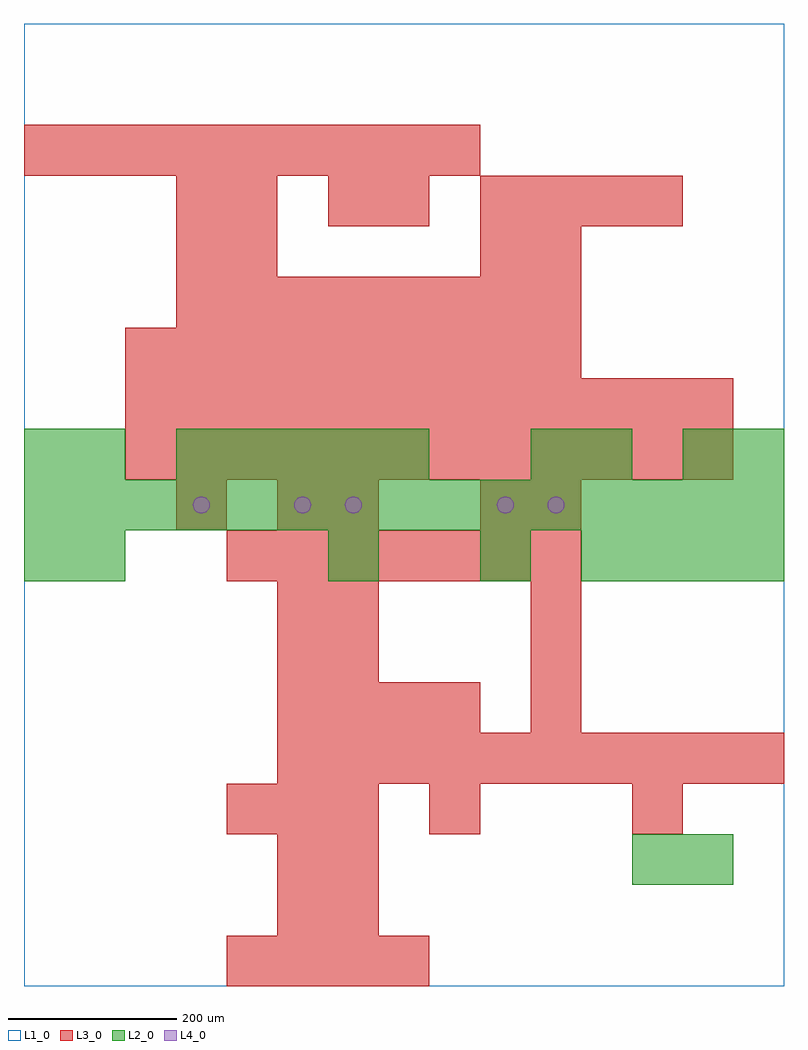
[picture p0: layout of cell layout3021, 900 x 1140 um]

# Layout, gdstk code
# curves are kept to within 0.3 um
import gdstk
lib = gdstk.Library(unit=1e-6, precision=1e-09)
def R(c, l, rs):  # rectangles x0, y0, x1, y1
    for r in rs: c.add(gdstk.rectangle(r[:2], r[2:], *l))
def A(c, l, x, y, w, h, nx, ny, dx, dy):  # array of equal rectangles
    R(c, l, [(x+i*dx, y+j*dy, x+i*dx+w, y+j*dy+h) for i in range(nx) for j in range(ny)])
def P(c, l, *ps):  # polygons
    for p in ps: c.add(gdstk.Polygon(p, *l))
L1_0 = (1, 0)
L2_0 = (2, 0)
L3_0 = (3, 0)
L4_0 = (4, 0)

layout3021 = lib.new_cell('layout3021')
R(layout3021, L1_0, [(0,0,900,1140)])
A(layout3021, L2_0, 660, 480, 60, 60, 4, 1, 60, 0)
A(layout3021, L2_0, 0, 540, 60, 60, 15, 1, 60, 0)
A(layout3021, L2_0, 180, 600, 60, 60, 5, 1, 60, 0)
R(layout3021, L2_0, [(720,120,780,180), (780,120,840,180), (0,480,60,540), (60,480,120,540), (360,480,420,540), (540,480,600,540), (0,600,60,660), (60,600,120,660), (600,600,660,660), (660,600,720,660), (780,600,840,660), (840,600,900,660)])
A(layout3021, L3_0, 240, 0, 60, 60, 4, 1, 60, 0)
A(layout3021, L3_0, 240, 180, 60, 60, 3, 1, 60, 0)
A(layout3021, L3_0, 300, 240, 60, 60, 10, 1, 60, 0)
A(layout3021, L3_0, 300, 300, 60, 60, 4, 1, 60, 0)
A(layout3021, L3_0, 600, 300, 60, 60, 1, 3, 0, 60)
A(layout3021, L3_0, 240, 480, 60, 60, 7, 1, 60, 0)
A(layout3021, L3_0, 120, 600, 60, 60, 12, 2, 60, 60)
A(layout3021, L3_0, 120, 720, 60, 60, 9, 1, 60, 0)
A(layout3021, L3_0, 180, 780, 60, 60, 8, 1, 60, 0)
A(layout3021, L3_0, 540, 900, 60, 60, 4, 1, 60, 0)
A(layout3021, L3_0, 0, 960, 60, 60, 9, 1, 60, 0)
R(layout3021, L3_0, [(300,60,360,120), (360,60,420,120), (300,120,360,180), (360,120,420,180), (480,180,540,240), (720,180,780,240), (300,360,360,420), (360,360,420,420), (300,420,360,480), (360,420,420,480), (180,540,240,600), (300,540,360,600), (360,540,420,600), (540,540,600,600), (600,540,660,600), (180,840,240,900), (240,840,300,900), (540,840,600,900), (600,840,660,900), (180,900,240,960), (240,900,300,960), (360,900,420,960), (420,900,480,960)])
P(layout3021, L4_0, [(220,570),(219.239,573.827),(217.071,577.071),(213.827,579.239),(210,580),(206.173,579.239),(202.929,577.071),(200.761,573.827),(200,570),(200.761,566.173),(202.929,562.929),(206.173,560.761),(210,560),(213.827,560.761),(217.071,562.929),(219.239,566.173)],
  [(340,570),(339.239,573.827),(337.071,577.071),(333.827,579.239),(330,580),(326.173,579.239),(322.929,577.071),(320.761,573.827),(320,570),(320.761,566.173),(322.929,562.929),(326.173,560.761),(330,560),(333.827,560.761),(337.071,562.929),(339.239,566.173)],
  [(400,570),(399.239,573.827),(397.071,577.071),(393.827,579.239),(390,580),(386.173,579.239),(382.929,577.071),(380.761,573.827),(380,570),(380.761,566.173),(382.929,562.929),(386.173,560.761),(390,560),(393.827,560.761),(397.071,562.929),(399.239,566.173)],
  [(580,570),(579.239,573.827),(577.071,577.071),(573.827,579.239),(570,580),(566.173,579.239),(562.929,577.071),(560.761,573.827),(560,570),(560.761,566.173),(562.929,562.929),(566.173,560.761),(570,560),(573.827,560.761),(577.071,562.929),(579.239,566.173)],
  [(640,570),(639.239,573.827),(637.071,577.071),(633.827,579.239),(630,580),(626.173,579.239),(622.929,577.071),(620.761,573.827),(620,570),(620.761,566.173),(622.929,562.929),(626.173,560.761),(630,560),(633.827,560.761),(637.071,562.929),(639.239,566.173)])

lib.write_gds('layout3021.gds')
